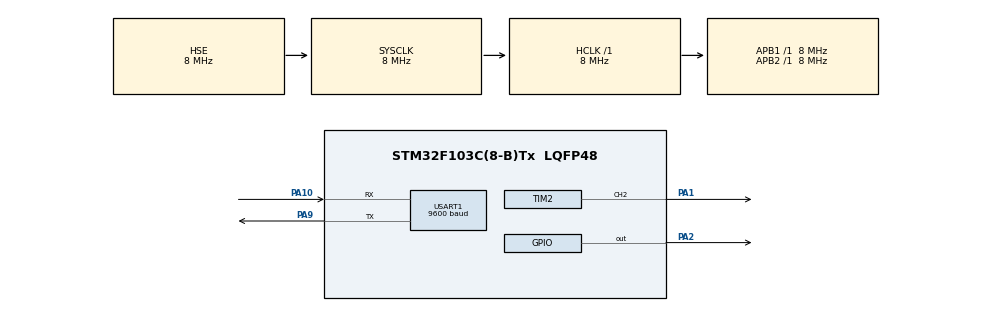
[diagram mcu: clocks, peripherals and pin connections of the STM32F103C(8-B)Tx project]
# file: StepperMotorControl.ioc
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Mcu.Family=STM32F1
Mcu.Name=STM32F103C(8-B)Tx
Mcu.Package=LQFP48
NVIC.PriorityGroup=NVIC_PRIORITYGROUP_4
NVIC.USART1_IRQn=true\:0\:0\:false\:false\:true\:true\:true\:true
PA1.Signal=S_TIM2_CH2
PA10.Mode=Asynchronous
PA10.Signal=USART1_RX
PA13.Mode=Serial_Wire
PA13.Signal=SYS_JTMS-SWDIO
PA14.Mode=Serial_Wire
PA14.Signal=SYS_JTCK-SWCLK
PA2.Signal=GPIO_Output
PA9.Mode=Asynchronous
PA9.Signal=USART1_TX
PD0-OSC_IN.Mode=HSE-External-Oscillator
PD0-OSC_IN.Signal=RCC_OSC_IN
PD1-OSC_OUT.Mode=HSE-External-Oscillator
PD1-OSC_OUT.Signal=RCC_OSC_OUT
ProjectManager.HeapSize=0x200
ProjectManager.StackSize=0x400
ProjectManager.TargetToolchain=STM32CubeIDE
RCC.AHBFreq_Value=8000000
RCC.APB1Freq_Value=8000000
RCC.APB1TimFreq_Value=8000000
RCC.APB2Freq_Value=8000000
RCC.APB2TimFreq_Value=8000000
RCC.HCLKFreq_Value=8000000
RCC.SYSCLKFreq_VALUE=8000000
RCC.SYSCLKSource=RCC_SYSCLKSOURCE_HSE
RCC.USBFreq_Value=8000000
SH.S_TIM2_CH2.0=TIM2_CH2,PWM Generation2 CH2
TIM2.Channel-PWM\ Generation2\ CH2=TIM_CHANNEL_2
TIM2.ClockDivision=TIM_CLOCKDIVISION_DIV4
USART1.BaudRate=9600
USART1.VirtualMode=VM_ASYNC
VP_TIM2_VS_ClockSourceINT.Mode=Internal
board=custom

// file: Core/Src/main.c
/* USER CODE BEGIN Header */
/**
******************************************************************************
* @file           : main.c
* @brief          : Main program body
******************************************************************************
* @attention
*
* Copyright (c) 2025 STMicroelectronics.
* All rights reserved.
*
* This software is licensed under terms that can be found in the LICENSE file
* in the root directory of this software component.
* If no LICENSE file comes with this software, it is provided AS-IS.
*
******************************************************************************
*/
/* USER CODE END Header */
#include "main.h"

/* USER CODE BEGIN Includes */
#include <stdbool.h>
#include <stdlib.h>
#include <string.h>
#include <stdio.h>
/* USER CODE END Includes */

/* USER CODE BEGIN PM */
#define STEPS_PER_REV 200 // Number of steps per revolution for the stepper motor (NEMA17)
/* USER CODE END PM */

TIM_HandleTypeDef htim2;

UART_HandleTypeDef huart1;

/* USER CODE BEGIN PV */
char rxBuffer[1]; // Buffer for single character received via UART
char commandBuffer[50]; // Buffer to accumulate command
uint8_t commandIndex = 0; // Index for command buffer
bool motorRunning = false; // Motor state
/* USER CODE END PV */

void SystemClock_Config(void);
static void MX_GPIO_Init(void);
static void MX_TIM2_Init(void);
static void MX_USART1_UART_Init(void);
/* USER CODE BEGIN PFP */
void StartMotor(float _rpm, bool _direction);
void StopMotor(void);
/* USER CODE END PFP */

int main(void)
{

    /* MCU Configuration--------------------------------------------------------*/

    /* Reset of all peripherals, Initializes the Flash interface and the Systick. */
    HAL_Init();

    /* Configure the system clock */
    SystemClock_Config();

    /* Initialize all configured peripherals */
    MX_GPIO_Init();
    MX_TIM2_Init();
    MX_USART1_UART_Init();
    /* USER CODE BEGIN 2 */

    // Send startup message over UART1
    char startupMessage[] = "Stepper Motor Control Initialized.\r\nSend \"START <Speed> <Direction>\" or \"STOP\" commands.\r\n";
    HAL_UART_Transmit(&huart1, (uint8_t *)startupMessage, strlen(startupMessage), HAL_MAX_DELAY);

    // Start UART reception in interrupt mode
    HAL_UART_Receive_IT(&huart1, (uint8_t *)rxBuffer, 1);
    /* USER CODE END 2 */

    /* Infinite loop */
    while (1)
    {

    }
}

void SystemClock_Config(void)
{
    RCC_OscInitTypeDef RCC_OscInitStruct = {0};
    RCC_ClkInitTypeDef RCC_ClkInitStruct = {0};

    /** Initializes the RCC Oscillators according to the specified parameters
    * in the RCC_OscInitTypeDef structure.
    */
    RCC_OscInitStruct.OscillatorType = RCC_OSCILLATORTYPE_HSE;
    RCC_OscInitStruct.HSEState = RCC_HSE_ON;
    RCC_OscInitStruct.PLL.PLLState = RCC_PLL_NONE;
    if (HAL_RCC_OscConfig(&RCC_OscInitStruct) != HAL_OK)
    {
        Error_Handler();
    }

    /** Initializes the CPU, AHB and APB buses clocks
    */
    RCC_ClkInitStruct.ClockType = RCC_CLOCKTYPE_HCLK|RCC_CLOCKTYPE_SYSCLK
    |RCC_CLOCKTYPE_PCLK1|RCC_CLOCKTYPE_PCLK2;
    RCC_ClkInitStruct.SYSCLKSource = RCC_SYSCLKSOURCE_HSE;
    RCC_ClkInitStruct.AHBCLKDivider = RCC_SYSCLK_DIV1;
    RCC_ClkInitStruct.APB1CLKDivider = RCC_HCLK_DIV1;
    RCC_ClkInitStruct.APB2CLKDivider = RCC_HCLK_DIV1;

    if (HAL_RCC_ClockConfig(&RCC_ClkInitStruct, FLASH_LATENCY_0) != HAL_OK)
    {
        Error_Handler();
    }
}

static void MX_TIM2_Init(void)
{

    TIM_ClockConfigTypeDef sClockSourceConfig = {0};
    TIM_MasterConfigTypeDef sMasterConfig = {0};
    TIM_OC_InitTypeDef sConfigOC = {0};

    htim2.Instance = TIM2;
    htim2.Init.Prescaler = 0;
    htim2.Init.CounterMode = TIM_COUNTERMODE_UP;
    htim2.Init.Period = 65535;
    htim2.Init.ClockDivision = TIM_CLOCKDIVISION_DIV4;
    htim2.Init.AutoReloadPreload = TIM_AUTORELOAD_PRELOAD_DISABLE;
    if (HAL_TIM_Base_Init(&htim2) != HAL_OK)
    {
        Error_Handler();
    }
    sClockSourceConfig.ClockSource = TIM_CLOCKSOURCE_INTERNAL;
    if (HAL_TIM_ConfigClockSource(&htim2, &sClockSourceConfig) != HAL_OK)
    {
        Error_Handler();
    }
    if (HAL_TIM_PWM_Init(&htim2) != HAL_OK)
    {
        Error_Handler();
    }
    sMasterConfig.MasterOutputTrigger = TIM_TRGO_RESET;
    sMasterConfig.MasterSlaveMode = TIM_MASTERSLAVEMODE_DISABLE;
    if (HAL_TIMEx_MasterConfigSynchronization(&htim2, &sMasterConfig) != HAL_OK)
    {
        Error_Handler();
    }
    sConfigOC.OCMode = TIM_OCMODE_PWM1;
    sConfigOC.Pulse = 0;
    sConfigOC.OCPolarity = TIM_OCPOLARITY_HIGH;
    sConfigOC.OCFastMode = TIM_OCFAST_DISABLE;
    if (HAL_TIM_PWM_ConfigChannel(&htim2, &sConfigOC, TIM_CHANNEL_2) != HAL_OK)
    {
        Error_Handler();
    }
    HAL_TIM_MspPostInit(&htim2);

}

static void MX_USART1_UART_Init(void)
{

    huart1.Instance = USART1;
    huart1.Init.BaudRate = 9600;
    huart1.Init.WordLength = UART_WORDLENGTH_8B;
    huart1.Init.StopBits = UART_STOPBITS_1;
    huart1.Init.Parity = UART_PARITY_NONE;
    huart1.Init.Mode = UART_MODE_TX_RX;
    huart1.Init.HwFlowCtl = UART_HWCONTROL_NONE;
    huart1.Init.OverSampling = UART_OVERSAMPLING_16;
    if (HAL_UART_Init(&huart1) != HAL_OK)
    {
        Error_Handler();
    }

}

static void MX_GPIO_Init(void)
{
    GPIO_InitTypeDef GPIO_InitStruct = {0};

    /* GPIO Ports Clock Enable */
    __HAL_RCC_GPIOD_CLK_ENABLE();
    __HAL_RCC_GPIOA_CLK_ENABLE();

    /*Configure GPIO pin Output Level */
    HAL_GPIO_WritePin(GPIOA, GPIO_PIN_2, GPIO_PIN_RESET);

    /*Configure GPIO pin : PA2 */
    GPIO_InitStruct.Pin = GPIO_PIN_2;
    GPIO_InitStruct.Mode = GPIO_MODE_OUTPUT_PP;
    GPIO_InitStruct.Pull = GPIO_NOPULL;
    GPIO_InitStruct.Speed = GPIO_SPEED_FREQ_LOW;
    HAL_GPIO_Init(GPIOA, &GPIO_InitStruct);

}

/* USER CODE BEGIN 4 */

void HAL_UART_RxCpltCallback(UART_HandleTypeDef *huart)
{
    if (huart->Instance == USART1) // Check if the interrupt is from UART1
    {
        // Echo the received character back to the sender to make a console style interface
        HAL_UART_Transmit(&huart1, (uint8_t *)rxBuffer, 1, HAL_MAX_DELAY);

        // Check for line feed character
        if (rxBuffer[0] == '\r')
        {
            commandBuffer[commandIndex] = '\0'; // Null-terminate the command string
            commandIndex = 0; // Reset the index for the next command

            // Process the command
            int speed = 10;      // Default speed in steps/second
            bool direction = true; // Default direction

            // Parse the command manually using strtok
            char *token = strtok(commandBuffer, " "); // Split by space
            if (token != NULL && strcmp(token, "START") == 0)
            {
                token = strtok(NULL, " "); // Get the speed
                if (token != NULL)
                {
                    speed = atoi(token); // Convert speed to integer
                    token = strtok(NULL, " "); // Get the direction
                    if (token != NULL)
                    {
                        direction = atoi(token); // Convert direction to integer
                        StartMotor(speed, direction);

                        char startMessage[100];
                        sprintf(startMessage, "Command: [%s], Decoded: Speed: [%d], Direction [%d]\r\n", commandBuffer, speed, direction);
                        HAL_UART_Transmit(&huart1, (uint8_t *)startMessage, strlen(startMessage), HAL_MAX_DELAY);
                    }
                }
                if (token == NULL)
                {
                    char invalidCommand[] = "Invalid command format. Use START <Speed> <Direction>\r\n";
                    HAL_UART_Transmit(&huart1, (uint8_t *)invalidCommand, strlen(invalidCommand), HAL_MAX_DELAY);
                }
            }
            else if (strncmp(commandBuffer, "STOP", 4) == 0)
            {
                StopMotor();
                // Send warning message for invalid command
                char stopMessage[] = "Motor Stopped\r\n";
                HAL_UART_Transmit(&huart1, (uint8_t *)stopMessage, strlen(stopMessage), HAL_MAX_DELAY);
            }
            else
            {
                // Send warning message for invalid command
                char warningMessage[] = "Invalid command received. Use START or STOP.\r\n";
                HAL_UART_Transmit(&huart1, (uint8_t *)warningMessage, strlen(warningMessage), HAL_MAX_DELAY);
            }
        }
        else
        {
            // Accumulate characters in the command buffer
            if (commandIndex < sizeof(commandBuffer) - 1)
            {
                commandBuffer[commandIndex++] = rxBuffer[0];
            }
        }

        // Restart UART reception in interrupt mode
        HAL_UART_Receive_IT(&huart1, (uint8_t *)rxBuffer, 1);
    }
}

void StartMotor(float _rpm, bool _direction) {

    /*
    * 1. Convert RPM to STEP frequency
    * 2. Get actual TIM2 input clock from HAL (from APB1)
    * 3. Find prescaler and period (ARR) for desired frequency
    * 4. Stop the timer before reconfiguring
    * 5. Apply new settings
    * 6. Start PWM
    */

    // Frequency = SYSCLOCK / ((prescaler + 1) * (period + 1))
    // slowest frequency is 1.86Hz = 8MHz / (65536 * 65536) => 0.558 RPM
    // so we assume any thing less than 0.6 RPM is motor off
    if (_rpm <= 0.6f)
    {
        HAL_TIM_PWM_Stop(&htim2, TIM_CHANNEL_2);
        motorRunning = false;
        return;
    }

    // Set direction
    HAL_GPIO_WritePin(GPIOA, GPIO_PIN_2, _direction ? GPIO_PIN_SET : GPIO_PIN_RESET);

    // 1. Convert RPM to STEP frequency
    // NEMA17 has 200 steps/rev, so:
    float step_freq = (_rpm * STEPS_PER_REV) / 60.0f;  // in Hz

    // 2. Get actual TIM2 input clock from HAL (from APB1)
    uint32_t timer_clock = HAL_RCC_GetPCLK1Freq();

    // If APB1 prescaler > 1, timer clock gets doubled (STM32F1 rule)
    RCC_ClkInitTypeDef clk_config;
    uint32_t latency;
    HAL_RCC_GetClockConfig(&clk_config, &latency);
    if (clk_config.APB1CLKDivider != RCC_HCLK_DIV1) {
        timer_clock *= 2;
    }

    // 3. Find prescaler and period (ARR) for desired frequency
    uint32_t prescaler = 0;
    uint32_t period = 0;

    for (prescaler = 0; prescaler <= 0xFFFF; prescaler++) {
        period = (uint32_t)(timer_clock / ((prescaler + 1) * step_freq));
        if (period <= 0xFFFF) {
            break;
        }
    }

    if (prescaler > 0xFFFF || period == 0) {
        // Can't configure for this RPM
        return;
    }

    // 4. Stop the timer before reconfiguring
    HAL_TIM_PWM_Stop(&htim2, TIM_CHANNEL_2);

    // 5. Apply new settings
    htim2.Instance->PSC = prescaler;
    htim2.Instance->ARR = period - 1;
    htim2.Instance->CCR2 = (period - 1) / 2;  // 50% duty

    // 6. Start PWM
    HAL_TIM_PWM_Start(&htim2, TIM_CHANNEL_2);

    motorRunning = true;
}

void StopMotor(void) {
    // Stop PWM
    HAL_TIM_PWM_Stop(&htim2, TIM_CHANNEL_2);

    motorRunning = false;
}

/* USER CODE END 4 */

void Error_Handler(void)
{
    __disable_irq();
    while (1)
    {
    }
}
